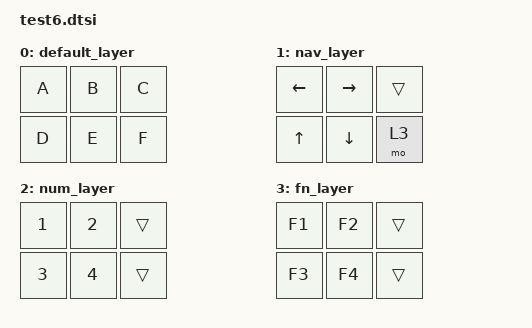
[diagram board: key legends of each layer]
#include <behaviors.dtsi>
#include <dt-bindings/zmk/keys.h>

/ {
    behaviors {
        ht: hold_tap {
            compatible = "zmk,behavior-hold-tap";
            #binding-cells = <2>;
            tapping-term-ms = <200>;
            quick-tap-ms = <150>;
            flavor = "tap-preferred";
            bindings = <&kp>, <&kp>;
        };
    };
    keymap {
        compatible = "zmk,keymap";
        default_layer {
            bindings = <
                &kp A &kp B &kp C
                &kp D &kp E &kp F
            >;
        };
        nav_layer {
            bindings = <
                &kp LEFT  &kp RIGHT  &trans
                &kp UP    &kp DOWN   &mo 3
            >;
        };
        num_layer {
            bindings = <
                &kp N1    &kp N2     &trans
                &kp N3    &kp N4     &trans
            >;
        };
        fn_layer {
            bindings = <
                &kp F1    &kp F2     &trans
                &kp F3    &kp F4     &trans
            >;
        };
    };
}; 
